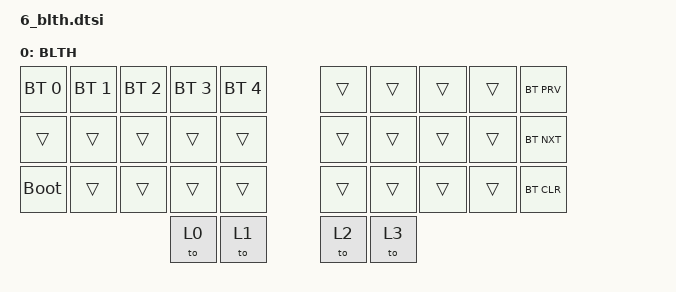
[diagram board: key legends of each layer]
/*
 * Bluetooth Layer
*/

/ {
  keymap {
    compatible = "zmk,keymap";

    bluetooth {
      label = "BLTH";
      bindings = <
    &bt BT_SEL 0    &bt BT_SEL 1    &bt BT_SEL 2    &bt BT_SEL 3    &bt BT_SEL 4       &trans          &trans          &trans          &trans          &bt BT_PRV
    &trans          &trans          &trans          &trans          &trans             &trans          &trans          &trans          &trans          &bt BT_NXT
    &bootloader     &trans          &trans          &trans          &trans             &trans          &trans          &trans          &trans          &bt BT_CLR
                                    &to 0                   &to 1                      &to 2                   &to 3
      >;
    };
  };
};

/*
*╭───────────────┬───────────────┬───────────────┬───────────────┬───────────────╮  ╭───────────────┬───────────────┬───────────────┬───────────────┬───────────────╮
* 0               1               2               3               4                  5               6               7               8               9
* t: 1            t: 2            t: 3            t: 4            t: 5               t: 6            t: 7            t: 8            t: 9            t: 0
* h: F1           h: F2           h: F3           h: F4           h: F5              h: F6           h: F7           h: F8           h: F9           h: F10
* s:              s:              s:              s:              s:                 s:              s:              s:              s:              s:
*├───────────────┼───────────────┼───────────────┼───────────────┼───────────────┤  ├───────────────┼───────────────┼───────────────┼───────────────┼───────────────┤
* 10              11              12              13              14                 15              16              17              18              19
* t: =            t: ^            t: -            t: +            t: %               t: &            t: (            t: )            t: [            t: ]
* h:              h:              h: LALT         h: LGUI         h:                 h:              h: RGUI         h: RALT         h:              h:
* s:              s:              s:              s:              s:                 s:              s:              s:              s:              s:
*├───────────────├───────────────┼───────────────┼───────────────┼───────────────┤  ├───────────────┼───────────────┼───────────────┼───────────────┼───────────────┤
* 20              21              22              23              24                 25              26              27              28              29
* t: \            t: |            t: `            t: ~            t: ENGLISH         t: HEBREW       t: {            t: }            t: <            t: >
* h:              h:              h:              h:              h:                 h:              h:              h:              h:              h:
* s:              s:              s:              s:              s:                 s:              s:              s:              s:              s:
*╰───────────────┴───────────────┼───────────────┴───────┬───────┴───────────────┤  ├───────────────┴───────┬───────┴───────────────┼───────────────┴───────────────┤
*                                 30                      31                         32                      33
*                                 t: SPACE                t: LSHIFT                  t: RCTRL                t: KEYBOARD NAV
*                                 h: MEH                  h:                         h:                      h:
*                                 s:                      s:                         s:                      s:
*                                ╰───────────────────────┴───────────────────────╯  ╰───────────────────────┴───────────────────────╯
*/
